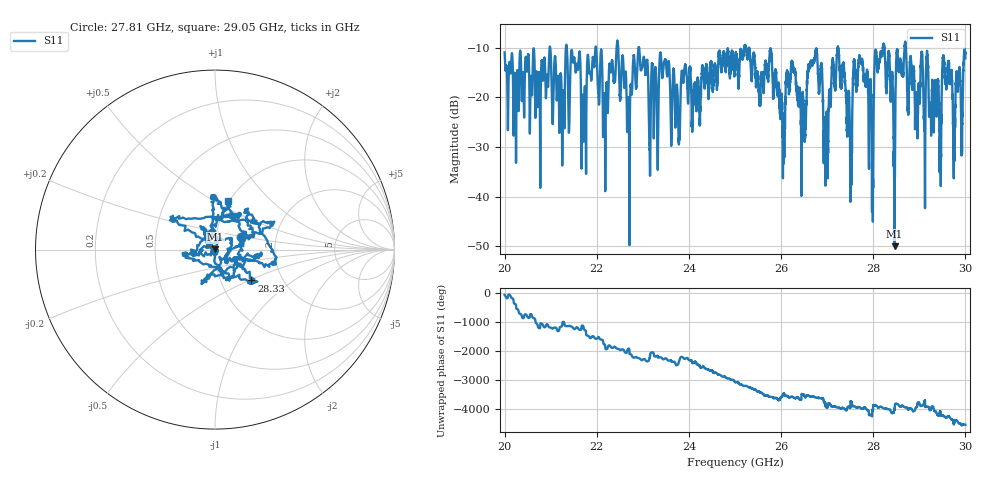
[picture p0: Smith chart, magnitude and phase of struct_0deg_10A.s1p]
#  HZ  S  RI  R  50.00
! Rohde & Schwarz ZVA40 4Ports - Version 3.90 - 1145.1110k42 SN: 100403
! Date: 2023-09-28 08:55:52
! Measurement: S22
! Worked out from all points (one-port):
!   5001 points, 20 GHz to 30 GHz, reference 50 ohm
!   lowest |S11| = -49.9 dB at 28.46 GHz (marker M1), VSWR 1.01, Z = 50.2 + j0.209 ohm
!   |S11| at or under -10 dB: 22.92 GHz to 25.2 GHz (2.288 GHz wide, 9.51 % of centre); 25.3 GHz to 27.23 GHz (1.926 GHz wide, 7.33 % of centre); 28.71 GHz to end of sweep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
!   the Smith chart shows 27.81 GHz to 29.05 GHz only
!   S11 on the Smith chart (normalised r, x): 27.81 GHz: 1.32, +0.19; 28.33 GHz: 1.40, -0.52; 29.05 GHz: 0.99, +0.58
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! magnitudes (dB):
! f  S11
! 20 GHz  -10.9
! 21.25 GHz  -33.7
! 21.48 GHz  -12.3
! 22.5 GHz  -19.4
! 22.69 GHz  -21.4
! 22.93 GHz  -10.7
! 23.15 GHz  -33.4
! 23.52 GHz  -15.4
! 23.75 GHz  -18.8
! 25 GHz  -13.0
! 25.77 GHz  -10.2
! 26.03 GHz  -25.7
! 26.25 GHz  -13.1
! 26.48 GHz  -20.6
! 26.75 GHz  -10.6
! 26.97 GHz  -29.9
! 27.24 GHz  -10.0
! 27.5 GHz  -35.3
! 27.81 GHz  -15.9
! 27.95 GHz  -20.1
! 28.07 GHz  -11.6
! 28.33 GHz  -11.5
! 28.46 GHz  -49.9
! 28.54 GHz  -13.3
! 28.75 GHz  -22.4
! 29.05 GHz  -11.1
! 29.76 GHz  -27.0
! 30 GHz  -12.1
